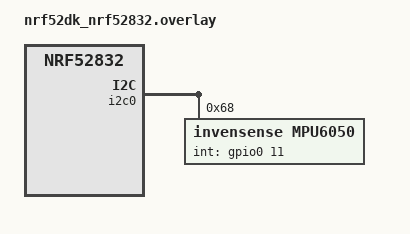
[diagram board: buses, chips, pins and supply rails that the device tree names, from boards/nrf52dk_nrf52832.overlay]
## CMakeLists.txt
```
#
# Copyright (c) 2019 Nordic Semiconductor ASA
#
# SPDX-License-Identifier: Apache-2.0
#

cmake_minimum_required(VERSION 3.13.1)
find_package(Zephyr REQUIRED HINTS $ENV{ZEPHYR_BASE})
project(mpu6050)

FILE(GLOB app_sources src/*.c)
target_sources(app PRIVATE ${app_sources})
```

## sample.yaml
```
#
# Copyright (c) 2019 Nordic Semiconductor ASA
#
# SPDX-License-Identifier: Apache-2.0
#

sample:
  name: MPU6050 Sensor Sample
tests:
  sample.sensor.mpu6050:
    build_only: true
    platform_allow: nrf52dk_nrf52832
    tags: sensors
    integration_platforms:
      - nrf52dk_nrf52832
```

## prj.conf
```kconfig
#
# Copyright (c) 2019 Nordic Semiconductor ASA
#
# SPDX-License-Identifier: Apache-2.0
#

CONFIG_I2C=y
CONFIG_SENSOR=y
CONFIG_MPU6050=y
CONFIG_MPU6050_TRIGGER_NONE=y
CONFIG_CBPRINTF_FP_SUPPORT=y
```

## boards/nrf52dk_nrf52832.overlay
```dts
/*
 * Copyright (c) 2019 Nordic Semiconductor ASA
 *
 * SPDX-License-Identifier: Apache-2.0
 */

&i2c0 {
	mpu6050@68 {
		compatible = "invensense,mpu6050";
		reg = <0x68>;
		status = "okay";
		label = "MPU6050";
		int-gpios = <&gpio0 11 GPIO_ACTIVE_HIGH>;
	};
};
```

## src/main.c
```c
/*
 * Copyright (c) 2019 Nordic Semiconductor ASA
 *
 * SPDX-License-Identifier: Apache-2.0
 */

#include <zephyr.h>
#include <device.h>
#include <drivers/sensor.h>
#include <stdio.h>

static const char *now_str(void)
{
	static char buf[16]; /* ...HH:MM:SS.MMM */
	uint32_t now = k_uptime_get_32();
	unsigned int ms = now % MSEC_PER_SEC;
	unsigned int s;
	unsigned int min;
	unsigned int h;

	now /= MSEC_PER_SEC;
	s = now % 60U;
	now /= 60U;
	min = now % 60U;
	now /= 60U;
	h = now;

	snprintf(buf, sizeof(buf), "%u:%02u:%02u.%03u",
		 h, min, s, ms);
	return buf;
}

static int process_mpu6050(const struct device *dev)
{
	struct sensor_value temperature;
	struct sensor_value accel[3];
	struct sensor_value gyro[3];
	int rc = sensor_sample_fetch(dev);

	if (rc == 0) {
		rc = sensor_channel_get(dev, SENSOR_CHAN_ACCEL_XYZ,
					accel);
	}
	if (rc == 0) {
		rc = sensor_channel_get(dev, SENSOR_CHAN_GYRO_XYZ,
					gyro);
	}
	if (rc == 0) {
		rc = sensor_channel_get(dev, SENSOR_CHAN_AMBIENT_TEMP,
					&temperature);
	}
	if (rc == 0) {
		printf("[%s]:%g Cel\n"
		       "  accel %f %f %f m/s/s\n"
		       "  gyro  %f %f %f rad/s\n",
		       now_str(),
		       sensor_value_to_double(&temperature),
		       sensor_value_to_double(&accel[0]),
		       sensor_value_to_double(&accel[1]),
		       sensor_value_to_double(&accel[2]),
		       sensor_value_to_double(&gyro[0]),
		       sensor_value_to_double(&gyro[1]),
		       sensor_value_to_double(&gyro[2]));
	} else {
		printf("sample fetch/get failed: %d\n", rc);
	}

	return rc;
}

#ifdef CONFIG_MPU6050_TRIGGER
static struct sensor_trigger trigger;

static void handle_mpu6050_drdy(const struct device *dev,
				struct sensor_trigger *trig)
{
	int rc = process_mpu6050(dev);

	if (rc != 0) {
		printf("cancelling trigger due to failure: %d\n", rc);
		(void)sensor_trigger_set(dev, trig, NULL);
		return;
	}
}
#endif /* CONFIG_MPU6050_TRIGGER */

void main(void)
{
	const char *const label = DT_LABEL(DT_INST(0, invensense_mpu6050));
	const struct device *mpu6050 = device_get_binding(label);

	if (!mpu6050) {
		printf("Failed to find sensor %s\n", label);
		return;
	}

#ifdef CONFIG_MPU6050_TRIGGER
	trigger = (struct sensor_trigger) {
		.type = SENSOR_TRIG_DATA_READY,
		.chan = SENSOR_CHAN_ALL,
	};
	if (sensor_trigger_set(mpu6050, &trigger,
			       handle_mpu6050_drdy) < 0) {
		printf("Cannot configure trigger\n");
		return;
	}
	printk("Configured for triggered sampling.\n");
#endif

	while (!IS_ENABLED(CONFIG_MPU6050_TRIGGER)) {
		int rc = process_mpu6050(mpu6050);

		if (rc != 0) {
			break;
		}
		k_sleep(K_SECONDS(2));
	}

	/* triggered runs with its own thread after exit */
}
```
